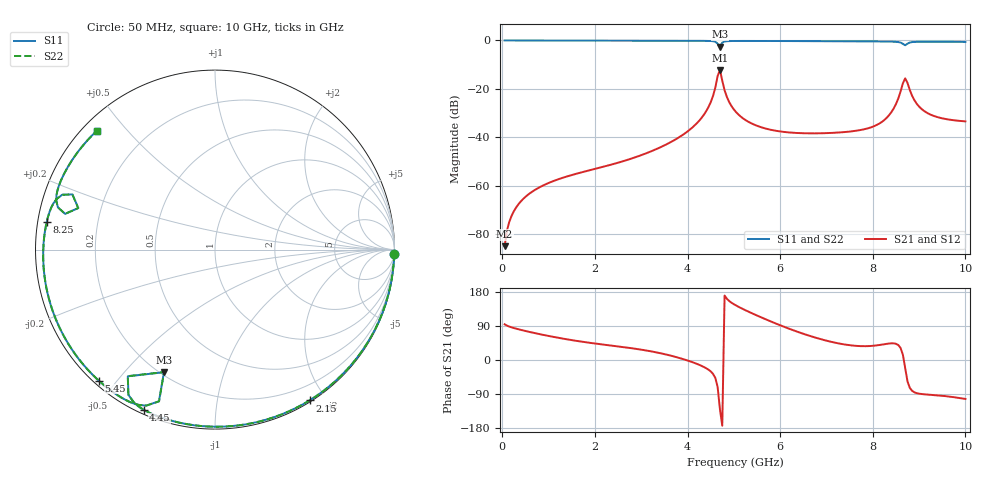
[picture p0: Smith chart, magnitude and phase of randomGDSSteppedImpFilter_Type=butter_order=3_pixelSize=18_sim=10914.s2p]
! freq	dB(S11)	phase(S11)	dB(S12)	phase(S12)
!  dB(S21)	phase(S21)	dB(S22)	phase(S22)
!S-par simulation data
#  GHz  S  DB  R 50
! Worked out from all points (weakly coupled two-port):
!   200 points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, 50 MHz to 10 GHz, reference 50 ohm
!   highest |S21| = -12.19 dB at 4.7 GHz (marker M1); lowest = -85.1 dB at 50 MHz (marker M2)
!   lowest |S11| = -2.6 dB at 4.7 GHz (marker M3), VSWR 6.70, Z = 10.7 - j32.3 ohm
!   |S11| at or under -10 dB: nowhere
!   |S22| runs from -2.6 to 0.0 dB; largest |S21 - S12| = 0
!   S11 on the Smith chart (normalised r, x): 50 MHz: 2, -85; 2.15 GHz: 0.02, -1.81; 4.45 GHz: 0.02, -0.65; 5.45 GHz: 0.01, -0.45; 8.25 GHz: 0.03, +0.08; 10 GHz: 0.04, +0.42
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0.05  -0.00 -1.3  -85.07 94.3  -85.07 94.3  -0.00 -1.3
0.25  -0.02 -6.9  -70.61 84.3  -70.61 84.3  -0.02 -6.9
0.55  -0.02 -15.3  -63.87 75.1  -63.87 75.1  -0.02 -15.3
1.75  -0.06 -47.6  -54.35 47.8  -54.35 47.8  -0.06 -47.6
2.15  -0.07 -57.9  -52.39 41.1  -52.39 41.1  -0.07 -57.9
3.4  -0.11 -88.5  -44.31 18.3  -44.31 18.3  -0.11 -88.5
4.05  -0.14 -103.7  -36.88 -3.3  -36.88 -3.3  -0.14 -103.7
4.45  -0.20 -114.0  -27.63 -25.3  -27.63 -25.3  -0.20 -114.1
4.65  -1.34 -124.5  -14.74 -71.2  -14.74 -71.2  -1.35 -124.6
4.7  -2.61 -112.6  -12.19 -130.2  -12.19 -130.2  -2.63 -112.6
4.75  -0.90 -110.3  -16.62 -173.5  -16.62 -173.5  -0.91 -110.2
4.85  -0.32 -116.2  -23.40 161.5  -23.40 161.5  -0.32 -116.2
5.05  -0.21 -122.4  -29.67 143.7  -29.67 143.7  -0.21 -122.4
5.45  -0.21 -131.6  -34.89 120.1  -34.89 120.1  -0.21 -131.6
6.7  -0.29 -157.3  -38.42 61.3  -38.42 61.3  -0.29 -157.2
7.7  -0.37 -177.5  -37.17 36.8  -37.17 36.8  -0.37 -177.5
8.25  -0.44 170.6  -32.88 41.7  -32.88 41.7  -0.44 170.6
8.35  -0.47 168.2  -30.95 43.5  -30.95 43.5  -0.47 168.2
8.7  -1.98 163.1  -15.69 -22.0  -15.69 -22.0  -1.98 163.1
8.9  -0.60 161.2  -24.76 -85.4  -24.76 -85.4  -0.60 161.2
9.1  -0.53 155.6  -29.05 -90.4  -29.05 -90.4  -0.53 155.6
10  -0.60 134.7  -33.46 -102.8  -33.46 -102.8  -0.60 134.8
